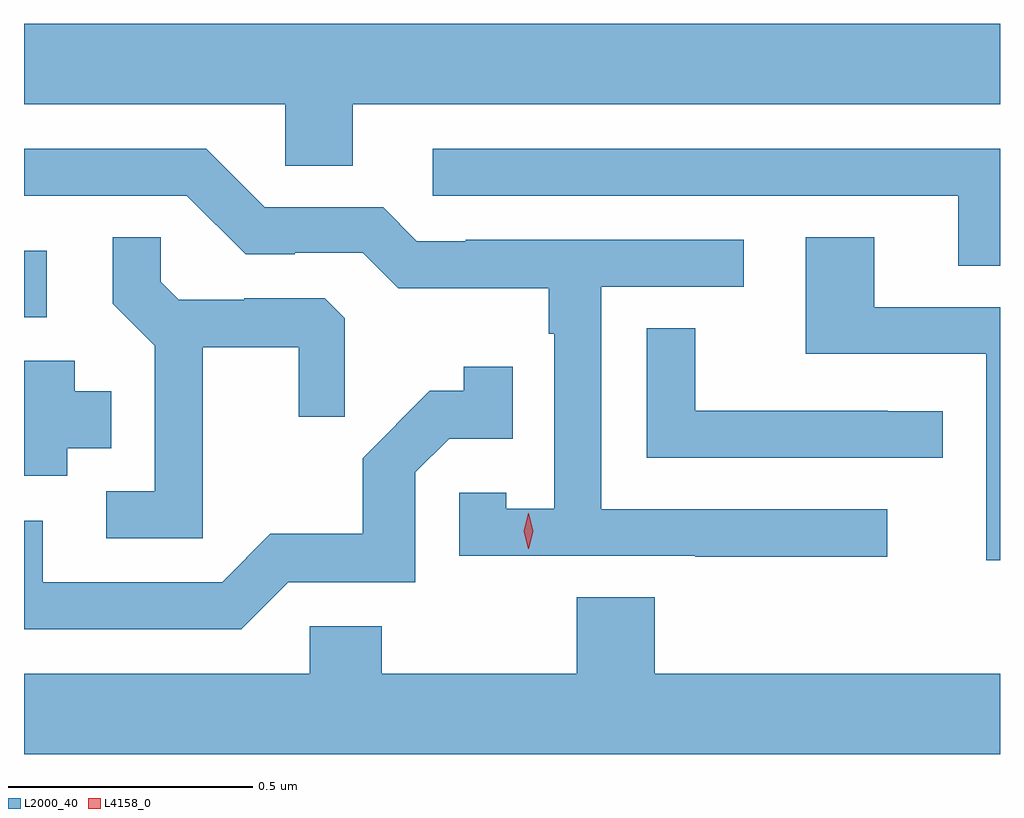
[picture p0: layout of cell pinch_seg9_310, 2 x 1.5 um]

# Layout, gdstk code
import gdstk
lib = gdstk.Library(unit=1e-6, precision=1e-09)
def R(c, l, rs):  # rectangles x0, y0, x1, y1
    for r in rs: c.add(gdstk.rectangle(r[:2], r[2:], *l))
def P(c, l, *ps):  # polygons
    for p in ps: c.add(gdstk.Polygon(p, *l))
L2000_40 = (2000, 40)
L4158_0 = (4158, 0)

pinch_seg9_310 = lib.new_cell('pinch_seg9_310')
R(pinch_seg9_310, L2000_40, [(396.743,1203.975,396.79,1204.111)])
P(pinch_seg9_310, L2000_40, [(397.417,1204.412),(398.743,1204.412),(398.743,1204.576),(396.743,1204.576),(396.743,1204.412),(397.278,1204.412),(397.278,1204.285),(397.417,1204.285)],
  [(398.512,1203.582),(397.926,1203.582),(397.926,1204.038),(398.218,1204.038),(398.218,1204.134),(397.648,1204.134),(397.648,1204.131),(397.548,1204.131),(397.479,1204.2),(397.236,1204.2),(397.116,1204.32),(396.743,1204.32),(396.743,1204.224),(397.077,1204.224),(397.197,1204.104),(397.298,1204.104),(397.298,1204.107),(397.437,1204.107),(397.51,1204.034),(397.818,1204.034),(397.818,1203.941),(397.83,1203.941),(397.83,1203.583),(397.731,1203.583),(397.731,1203.615),(397.635,1203.615),(397.635,1203.486),(398.119,1203.486),(398.119,1203.484),(398.512,1203.484)],
  [(398.743,1204.32),(397.581,1204.32),(397.581,1204.224),(398.657,1204.224),(398.657,1204.081),(398.743,1204.081)],
  [(398.743,1203.996),(398.485,1203.996),(398.485,1204.139),(398.345,1204.139),(398.345,1203.9),(398.715,1203.9),(398.715,1203.477),(398.743,1203.477)],
  [(397.109,1203.914),(397.306,1203.914),(397.306,1203.771),(397.4,1203.771),(397.4,1203.973),(397.359,1204.014),(397.194,1204.014),(397.194,1204.011),(397.06,1204.011),(397.023,1204.048),(397.023,1204.139),(396.925,1204.139),(396.925,1204.003),(397.011,1203.917),(397.011,1203.618),(396.912,1203.618),(396.912,1203.522),(397.109,1203.522)],
  [(398.626,1203.782),(398.513,1203.782),(398.513,1203.783),(398.118,1203.783),(398.118,1203.953),(398.019,1203.953),(398.019,1203.687),(398.626,1203.687)],
  [(396.832,1203.707),(396.922,1203.707),(396.922,1203.823),(396.847,1203.823),(396.847,1203.886),(396.743,1203.886),(396.743,1203.65),(396.832,1203.65)],
  [(397.284,1203.432),(397.545,1203.432),(397.545,1203.657),(397.614,1203.726),(397.745,1203.726),(397.745,1203.874),(397.644,1203.874),(397.644,1203.824),(397.574,1203.824),(397.437,1203.686),(397.437,1203.531),(397.248,1203.531),(397.149,1203.432),(396.781,1203.432),(396.781,1203.558),(396.743,1203.558),(396.743,1203.336),(397.188,1203.336)],
  [(398.743,1203.244),(398.036,1203.244),(398.036,1203.401),(397.876,1203.401),(397.876,1203.244),(397.476,1203.244),(397.476,1203.342),(397.329,1203.342),(397.329,1203.244),(396.743,1203.244),(396.743,1203.08),(398.743,1203.08)])
P(pinch_seg9_310, L4158_0, [(397.776,1203.501),(397.767,1203.537),(397.776,1203.573),(397.777,1203.573),(397.777,1203.573),(397.787,1203.537),(397.777,1203.501),(397.777,1203.501)])

lib.write_gds('pinch_seg9_310.gds')
